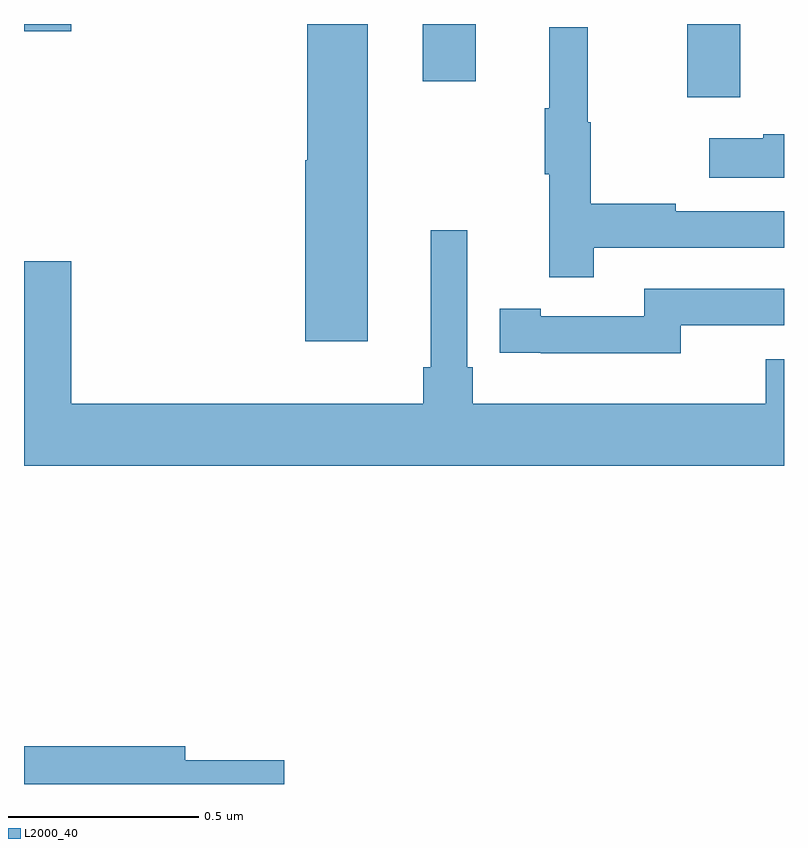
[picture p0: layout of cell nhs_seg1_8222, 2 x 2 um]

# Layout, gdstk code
import gdstk
lib = gdstk.Library(unit=1e-6, precision=1e-09)
def R(c, l, rs):  # rectangles x0, y0, x1, y1
    for r in rs: c.add(gdstk.rectangle(r[:2], r[2:], *l))
def P(c, l, *ps):  # polygons
    for p in ps: c.add(gdstk.Polygon(p, *l))
L2000_40 = (2000, 40)

nhs_seg1_8222 = lib.new_cell('nhs_seg1_8222')
R(nhs_seg1_8222, L2000_40, [(214.745,582.006,214.885,582.199), (214.049,582.048,214.189,582.199), (213,582.18,213.124,582.199)])
P(nhs_seg1_8222, L2000_40, [(213.904,582.199),(213.746,582.199),(213.746,581.841),(213.74,581.841),(213.74,581.364),(213.904,581.364)],
  [(214.499,581.61),(215,581.61),(215,581.706),(214.715,581.706),(214.715,581.726),(214.492,581.726),(214.492,581.94),(214.484,581.94),(214.484,582.19),(214.382,582.19),(214.382,581.977),(214.371,581.977),(214.371,581.803),(214.382,581.803),(214.382,581.532),(214.499,581.532)],
  [(215,581.909),(214.946,581.909),(214.946,581.899),(214.803,581.899),(214.803,581.795),(215,581.795)],
  [(215,581.317),(214.952,581.317),(214.952,581.2),(214.181,581.2),(214.181,581.296),(214.167,581.296),(214.167,581.656),(214.07,581.656),(214.07,581.296),(214.051,581.296),(214.051,581.2),(213.124,581.2),(213.124,581.575),(213,581.575),(213,581.036),(215,581.036)],
  [(214.728,581.406),(215,581.406),(215,581.502),(214.632,581.502),(214.632,581.43),(214.36,581.43),(214.36,581.45),(214.252,581.45),(214.252,581.334),(214.36,581.334),(214.36,581.333),(214.728,581.333)],
  [(213.685,580.262),(213.424,580.262),(213.424,580.298),(213,580.298),(213,580.199),(213.685,580.199)])

lib.write_gds('nhs_seg1_8222.gds')
